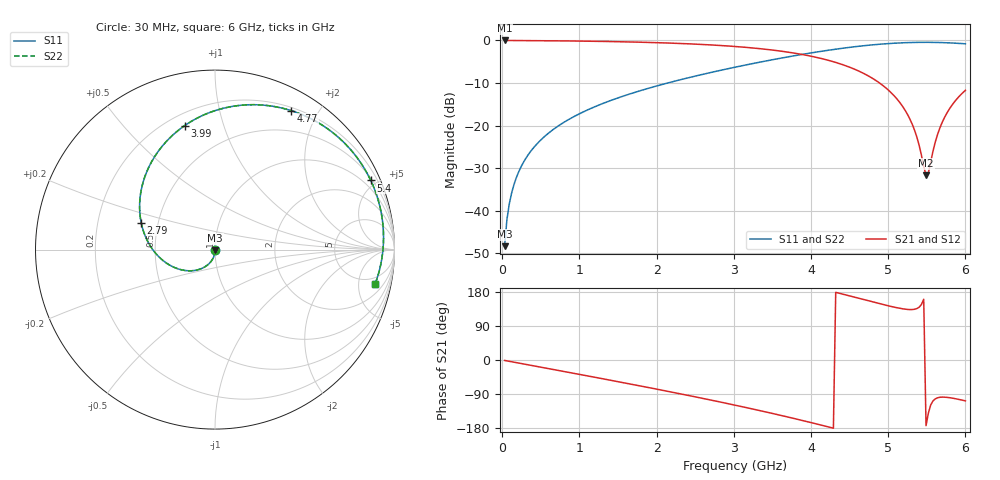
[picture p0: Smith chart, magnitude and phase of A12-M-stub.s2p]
! yapnr Order 0 O0-M: O0-M A12 STUB (stub, family M)
! stackup OSHPARK-4L-FR408HR, nominal parameters; geometry of the OSHPARK-4L-FR408HR design
! model: 2D quasi-static RLGC (Djordjevic-Sarkar, Huray roughness, Wheeler loss); generated by python -m yapnr.rf.coupons expected --stackup OSHPARK-4L-FR408HR --upload M
! reference planes 10 mm from each end; 50 ohm (from the M line's Zc)
# GHz S DB R 50
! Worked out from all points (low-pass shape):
!   200 points, 30 MHz to 6 GHz, reference 50 ohm
!   highest |S21| = -0.01 dB at 30 MHz (marker M1); lowest = -31.7 dB at 5.49 GHz (marker M2)
!   |S21| within 3 dB of the highest: start of sweep to 3.792 GHz
!   lowest |S11| = -48.3 dB at 30 MHz (marker M3), VSWR 1.01, Z = 50 - j0.381 ohm
!   |S11| at or under -10 dB: start of sweep to 2.142 GHz
!   |S22| runs from -48.3 to -0.4 dB; largest |S21 - S12| = 0
!   S11 on the Smith chart (normalised r, x): 30 MHz: 1.00, -0.01; 2.79 GHz: 0.40, +0.15; 3.99 GHz: 0.27, +0.75; 4.77 GHz: 0.24, +1.66; 5.4 GHz: 0.59, +4.65; 6 GHz: 3.53, -8.00
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0.03  -48.32 -83.3  -0.01 -1.2  -0.01 -1.2  -48.32 -83.3
0.06  -42.07 -87.3  -0.01 -2.3  -0.01 -2.3  -42.07 -87.3
0.12  -35.90 -91.5  -0.02 -4.6  -0.02 -4.6  -35.90 -91.5
0.27  -28.76 -98.6  -0.03 -10.3  -0.03 -10.3  -28.76 -98.6
0.57  -22.21 -110.8  -0.07 -21.6  -0.07 -21.6  -22.21 -110.8
1.05  -16.78 -129.6  -0.16 -39.9  -0.16 -39.9  -16.78 -129.6
2.04  -10.49 -168.8  -0.54 -78.5  -0.54 -78.5  -10.49 -168.8
2.79  -7.17 159.9  -1.15 -109.4  -1.15 -109.4  -7.17 159.9
3.03  -6.23 149.4  -1.44 -119.8  -1.44 -119.8  -6.23 149.4
3.54  -4.39 126.0  -2.35 -142.9  -2.35 -142.9  -4.39 126.0
3.99  -2.96 103.8  -3.66 -164.7  -3.66 -164.7  -2.96 103.8
4.02  -2.87 102.2  -3.78 -166.2  -3.78 -166.2  -2.87 102.2
4.41  -1.83 81.6  -5.69 173.8  -5.69 173.8  -1.83 81.6
4.77  -1.08 61.3  -8.62 154.8  -8.62 154.8  -1.08 61.3
5.01  -0.73 47.3  -11.80 142.6  -11.80 142.6  -0.73 47.3
5.25  -0.51 33.0  -17.38 133.5  -17.38 133.5  -0.51 33.0
5.4  -0.45 23.9  -24.58 139.2  -24.58 139.2  -0.45 23.9
5.49  -0.44 18.5  -31.69 -173.2  -31.69 -173.2  -0.44 18.5
5.52  -0.44 16.7  -31.13 -140.5  -31.13 -140.5  -0.44 16.7
5.61  -0.46 11.2  -23.85 -102.5  -23.85 -102.5  -0.46 11.2
5.7  -0.51 5.8  -19.22 -98.0  -19.22 -98.0  -0.51 5.8
6  -0.79 -12.0  -11.71 -107.9  -11.71 -107.9  -0.79 -12.0
